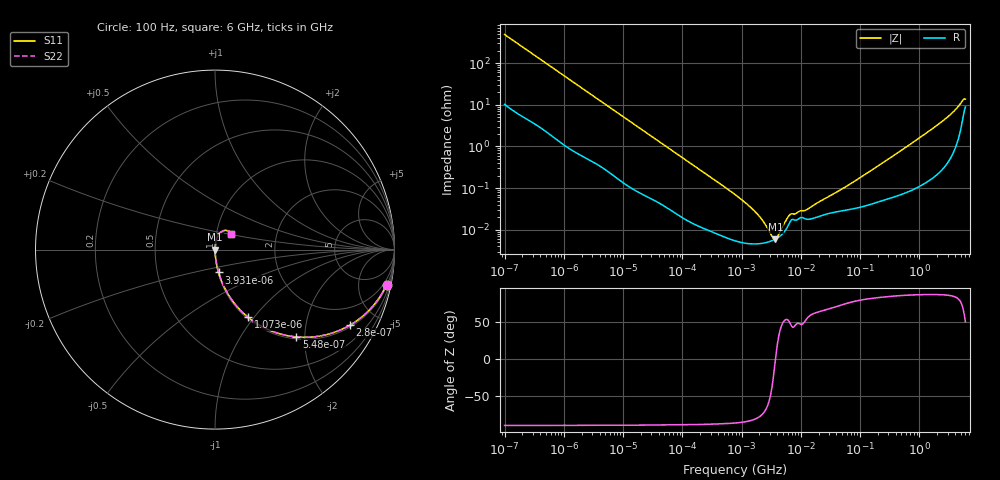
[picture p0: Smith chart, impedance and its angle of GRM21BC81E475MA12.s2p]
!Murata Part Number: GRM21BC81E475MA12
!These Parameters are Measured in Series Mode Connection
!Data Generated on Mar 30, 2021
!  o--ll--o
!Port1  Port2
!  o------o
!Operation Temp=25[degC], DC Bias Voltage=0[V]
!Freq. Start=100[Hz] Stop=6[GHz] 401[Steps]
# Hz S RI R 50
!Freq.(Hz) S11(Real) S11(Imag) S21(Real) S21(Imag) S12(Real) S12(Imag) S22(Real) S22(Imag)
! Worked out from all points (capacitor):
!   401 points, 100 Hz to 6 GHz, reference 50 ohm
!   read as one part in series: C = 3.26 uF near 109 Hz
!   lowest |Z| = 5.96 mohm at 3.712 MHz (marker M1)
!   series resonance near 3.738 MHz, so ESL is about 560 pH
!   S11 on the Smith chart (normalised r, x): 100 Hz: 1.20, -9.73; 280 Hz: 1.08, -3.52; 548 Hz: 1.04, -1.82; 1.073 kHz: 1.02, -0.94; 3.931 kHz: 1.01, -0.26; 6 GHz: 1.18, +0.21
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100  0.9557 -0.1955  0.0443 0.1955  0.0443 0.1955  0.9557 -0.1955
164  0.8944 -0.2972  0.1056 0.2972  0.1056 0.2972  0.8944 -0.2972
280  0.7508 -0.4216  0.2492 0.4216  0.2492 0.4216  0.7508 -0.4216
548  0.4529 -0.4866  0.5471 0.4866  0.5471 0.4866  0.4529 -0.4866
1073  0.1848 -0.3775  0.8152 0.3775  0.8152 0.3775  0.1848 -0.3775
2008  0.0645 -0.2341  0.9355 0.2341  0.9355 0.2341  0.0645 -0.2341
3931  0.0199 -0.1271  0.9801 0.1271  0.9801 0.1271  0.0199 -0.1271
40335  0.000613 -0.0132  0.9994 0.0132  0.9994 0.0132  0.000613 -0.0132
774597  5.48e-05 -0.000699  0.9999 0.000699  0.9999 0.000699  5.48e-05 -0.000699
1658239  4.58e-05 -0.000276  1 0.000276  1 0.000276  4.58e-05 -0.000276
2837864  5.1e-05 -8.57e-05  0.9999 8.57e-05  0.9999 8.57e-05  5.1e-05 -8.57e-05
3712478  5.96e-05 -2.1e-06  0.9999 2.1e-06  0.9999 2.1e-06  5.96e-05 -2.1e-06
4643984  7.4e-05 6.9e-05  0.9999 -6.9e-05  0.9999 -6.9e-05  7.4e-05 6.9e-05
6644369  0.000158 0.000173  0.9998 -0.000173  0.9998 -0.000173  0.000158 0.000173
1.189169e7  0.000183 0.000228  0.9998 -0.000228  0.9998 -0.000228  0.000183 0.000228
1.555665e7  0.000185 0.00032  0.9998 -0.00032  0.9998 -0.00032  0.000185 0.00032
6.233367e7  0.000302 0.00112  0.9997 -0.00112  0.9997 -0.00112  0.000302 0.00112
3.124326e8  0.00059 0.00512  0.9994 -0.00512  0.9994 -0.00512  0.00059 0.00512
2.240541e9  0.00376 0.0362  0.9962 -0.0362  0.9962 -0.0362  0.00376 0.0362
4.385646e9  0.0193 0.0819  0.9807 -0.0819  0.9807 -0.0819  0.0193 0.0819
5.245841e9  0.0462 0.1052  0.9538 -0.1052  0.9538 -0.1052  0.0462 0.1052
6e9  0.0896 0.0877  0.9104 -0.0877  0.9104 -0.0877  0.0896 0.0877
